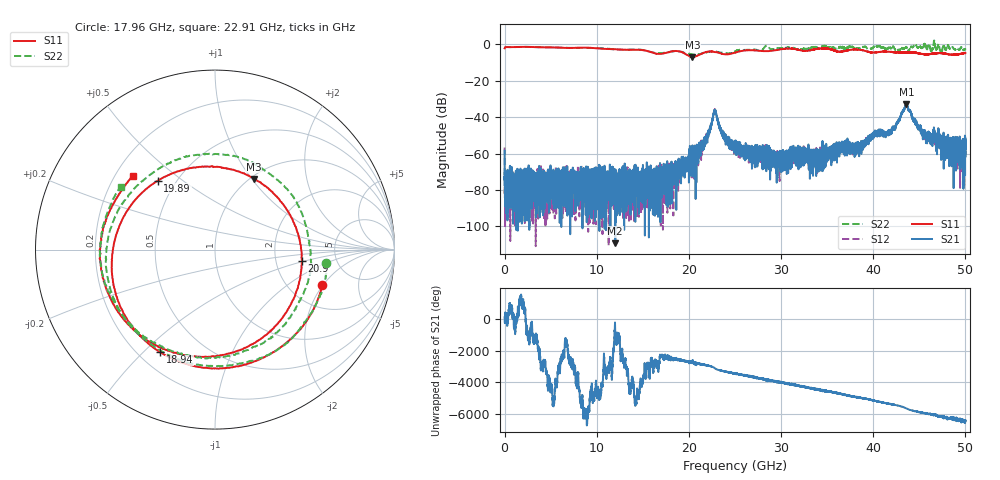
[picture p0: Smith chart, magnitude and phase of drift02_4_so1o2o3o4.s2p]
!Created with skrf (http://scikit-rf.org).
# Hz S RI R 50.0
!freq ReS11 ImS11 ReS21 ImS21 ReS12 ImS12 ReS22 ImS22
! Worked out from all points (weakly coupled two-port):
!   10001 points, 300 kHz to 50 GHz, reference 50 ohm
!   highest |S21| = -32.94 dB at 43.6 GHz (marker M1); lowest = -109.4 dB at 12.01 GHz (marker M2)
!   lowest |S11| = -7.0 dB at 20.38 GHz (marker M3), VSWR 2.63, Z = 51.9 + j51.1 ohm
!   |S11| at or under -10 dB: nowhere
!   |S22| runs from -5.7 to 2.2 dB; largest |S21 - S12| = 0.0033
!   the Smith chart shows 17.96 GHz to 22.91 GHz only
!   S11 on the Smith chart (normalised r, x): 17.96 GHz: 3.00, -1.98; 18.94 GHz: 0.29, -0.56; 19.89 GHz: 0.40, +0.41; 20.9 GHz: 2.82, -0.46; 22.91 GHz: 0.27, +0.36
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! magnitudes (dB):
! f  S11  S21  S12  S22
! 300 kHz  -2.1  -58.4  -56.7  -2.1
! 265.3 MHz  -1.4  -76.0  -83.7  -1.4
! 8.335 GHz  -1.7  -72.9  -75.4  -1.9
! 12.01 GHz  -2.7  -109.4  -95.7  -2.8
! 16.67 GHz  -5.2  -75.3  -87.5  -4.8
! 17.96 GHz  -4.0  -74.1  -66.2  -4.1
! 18.94 GHz  -3.8  -67.5  -67.9  -3.9
! 19.89 GHz  -6.0  -62.9  -63.7  -5.1
! 20.38 GHz  -7.0  -63.1  -60.7  -5.5
! 20.9 GHz  -6.2  -59.0  -59.5  -5.6
! 22.91 GHz  -4.2  -36.8  -36.7  -4.0
! 23.77 GHz  -5.3  -50.7  -50.0  -4.6
! 25 GHz  -4.5  -56.3  -55.9  -3.9
! 29.55 GHz  -3.1  -63.2  -66.4  -2.1
! 33.34 GHz  -3.0  -58.6  -60.7  -1.6
! 38.14 GHz  -2.7  -54.3  -57.3  -2.4
! 40.12 GHz  -4.4  -50.8  -49.9  -1.0
! 41.67 GHz  -4.0  -48.8  -47.7  -1.8
! 43.6 GHz  -4.5  -32.9  -33.2  -1.5
! 45.65 GHz  -5.3  -49.8  -49.7  -0.1
! 49.64 GHz  -5.0  -53.6  -61.7  -1.6
! 50 GHz  -4.7  -53.2  -52.0  -2.7
